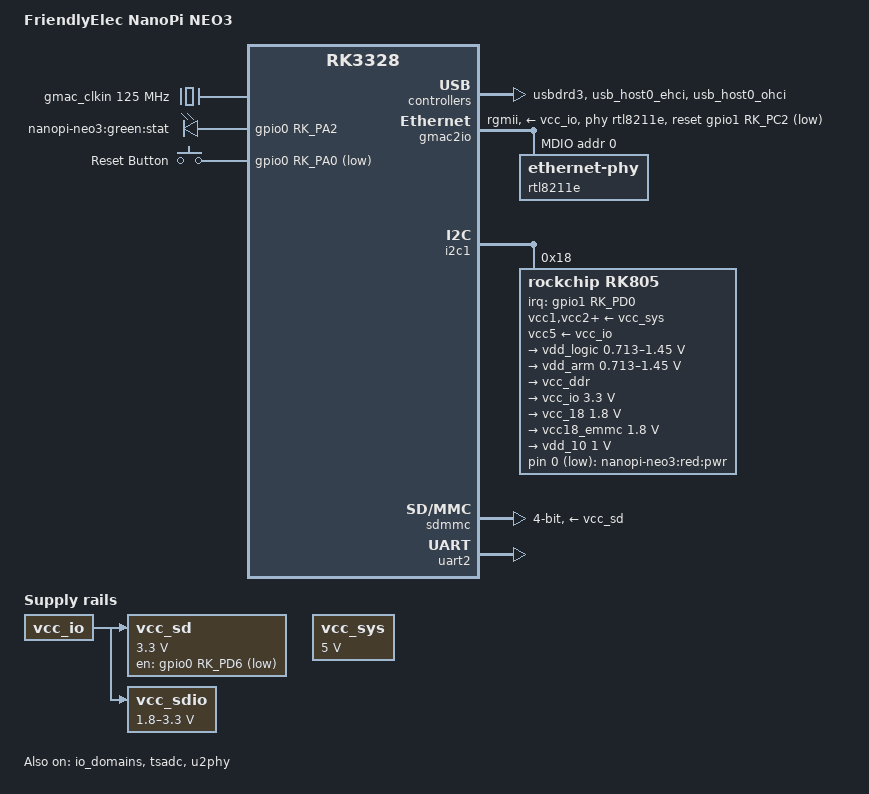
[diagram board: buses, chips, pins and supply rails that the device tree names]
// SPDX-License-Identifier: (GPL-2.0+ OR MIT)
/*
 * Copyright (c) 2020 Chris Blake <chrisrblake93@gmail.com>
 */

/dts-v1/;

#include <dt-bindings/input/input.h>
#include <dt-bindings/gpio/gpio.h>
#include "rk3328.dtsi"

/ {
  model = "FriendlyElec NanoPi NEO3";
  compatible = "friendlyelec,nanopi-neo3", "rockchip,rk3328";

  chosen {
    stdout-path = "serial2:1500000n8";
  };

  gmac_clkin: external-gmac-clock {
    compatible = "fixed-clock";
    clock-frequency = <125000000>;
    clock-output-names = "gmac_clkin";
    #clock-cells = <0>;
  };

  vcc_sd: sdmmc-regulator {
    compatible = "regulator-fixed";
    gpio = <&gpio0 RK_PD6 GPIO_ACTIVE_LOW>;
    pinctrl-names = "default";
    pinctrl-0 = <&sdmmc0m1_gpio>;
    regulator-name = "vcc_sd";
    regulator-min-microvolt = <3300000>;
    regulator-max-microvolt = <3300000>;
    vin-supply = <&vcc_io>;
  };

  vcc_sdio: sdmmcio-regulator {
    compatible = "regulator-gpio";
    gpios = <&gpio1 RK_PD4 GPIO_ACTIVE_HIGH>;
    enable-active-high;
    states = <1800000 0x1
        3300000 0x0>;
    pinctrl-names = "default";
    pinctrl-0 = <&sdio_vcc_pin>;
    regulator-always-on;
    regulator-min-microvolt = <1800000>;
    regulator-max-microvolt = <3300000>;
    regulator-name = "vcc_sdio";
    regulator-settling-time-us = <5000>;
    regulator-type = "voltage";
    vin-supply = <&vcc_io>;
  };

  vcc_sys: vcc-sys {
    compatible = "regulator-fixed";
    regulator-name = "vcc_sys";
    regulator-always-on;
    regulator-boot-on;
    regulator-min-microvolt = <5000000>;
    regulator-max-microvolt = <5000000>;
  };

  leds {
    compatible = "gpio-leds";

    pinctrl-names = "default";
    pinctrl-0 = <&led_pins>;

    stat {
      gpios = <&gpio0 RK_PA2 GPIO_ACTIVE_HIGH>;
      label = "nanopi-neo3:green:stat";
      linux,default-trigger = "mmc0";
    };
  };

  rk805-leds {
    compatible = "gpio-leds";

    pwr {
      gpios = <&rk805 0 GPIO_ACTIVE_LOW>;
      label = "nanopi-neo3:red:pwr";
      linux,default-trigger = "default-on";
      default-state = "on";
    };
  };

  gpio_keys {
    compatible = "gpio-keys-polled";
    poll-interval = <100>;

    pinctrl-names = "default";
    pinctrl-0 = <&button_pins>;

    reset {
      label = "Reset Button";
      gpios = <&gpio0 RK_PA0 GPIO_ACTIVE_LOW>;
      linux,code = <KEY_POWER>;
      debounce-interval = <50>;
    };
  };

  usbdrd3: usb@ff600000 {
    compatible = "rockchip,rk3328-dwc3";
    clocks = <&cru SCLK_USB3OTG_REF>, <&cru SCLK_USB3OTG_SUSPEND>,
       <&cru ACLK_USB3OTG>;
    clock-names = "ref_clk", "suspend_clk",
            "bus_clk";
    #address-cells = <2>;
    #size-cells = <2>;
    ranges;
    status = "okay";

    usbdrd_dwc3: dwc3@ff600000 {
      compatible = "snps,dwc3";
      reg = <0x0 0xff600000 0x0 0x100000>;
      interrupts = <GIC_SPI 67 IRQ_TYPE_LEVEL_HIGH>;
      dr_mode = "host";
      phy_type = "utmi_wide";
      snps,dis_enblslpm_quirk;
      snps,dis-u2-freeclk-exists-quirk;
      snps,dis_u2_susphy_quirk;
      snps,dis-u3-autosuspend-quirk;
      snps,dis_u3_susphy_quirk;
      snps,dis-del-phy-power-chg-quirk;
      snps,dis-tx-ipgap-linecheck-quirk;
      snps,xhci-slow-suspend-quirk;
      snps,xhci-trb-ent-quirk;
      status = "okay";
    };
  };
};

&cpu0 {
  cpu-supply = <&vdd_arm>;
};

&cpu1 {
  cpu-supply = <&vdd_arm>;
};

&cpu2 {
  cpu-supply = <&vdd_arm>;
};

&cpu3 {
  cpu-supply = <&vdd_arm>;
};

&gmac2io {
  assigned-clocks = <&cru SCLK_MAC2IO>, <&cru SCLK_MAC2IO_EXT>;
  assigned-clock-parents = <&gmac_clkin>, <&gmac_clkin>;
  clock_in_out = "input";
  phy-supply = <&vcc_io>;
  phy-handle = <&rtl8211e>;
  phy-mode = "rgmii";
  pinctrl-names = "default";
  pinctrl-0 = <&rgmiim1_pins>;
  snps,aal;
  snps,reset-gpio = <&gpio1 RK_PC2 GPIO_ACTIVE_LOW>;
  snps,reset-active-low;
  snps,reset-delays-us = <0 10000 50000>;
  tx_delay = <0x24>;
  rx_delay = <0x18>;
  status = "okay";

  mdio {
    compatible = "snps,dwmac-mdio";
    #address-cells = <1>;
    #size-cells = <0>;

    rtl8211e: ethernet-phy@0 {
      reg = <0>;
    };
  };
};

&i2c1 {
  status = "okay";

  rk805: rk805@18 {
    compatible = "rockchip,rk805";
    reg = <0x18>;
    interrupt-parent = <&gpio1>;
    interrupts = <RK_PD0 IRQ_TYPE_LEVEL_LOW>;
    #clock-cells = <1>;
    clock-output-names = "xin32k", "rk805-clkout2";
    gpio-controller;
    #gpio-cells = <2>;
    pinctrl-names = "default";
    pinctrl-0 = <&pmic_int_l>;
    rockchip,system-power-controller;
    wakeup-source;

    vcc1-supply = <&vcc_sys>;
    vcc2-supply = <&vcc_sys>;
    vcc3-supply = <&vcc_sys>;
    vcc4-supply = <&vcc_sys>;
    vcc5-supply = <&vcc_io>;
    vcc6-supply = <&vcc_sys>;

    regulators {
      vdd_logic: DCDC_REG1 {
        regulator-name = "vdd_logic";
        regulator-min-microvolt = <712500>;
        regulator-max-microvolt = <1450000>;
        regulator-ramp-delay = <12500>;
        regulator-always-on;
        regulator-boot-on;
        regulator-state-mem {
          regulator-on-in-suspend;
          regulator-suspend-microvolt = <1000000>;
        };
      };

      vdd_arm: DCDC_REG2 {
        regulator-name = "vdd_arm";
        regulator-min-microvolt = <712500>;
        regulator-max-microvolt = <1450000>;
        regulator-ramp-delay = <12500>;
        regulator-always-on;
        regulator-boot-on;
        regulator-state-mem {
          regulator-on-in-suspend;
          regulator-suspend-microvolt = <950000>;
        };
      };

      vcc_ddr: DCDC_REG3 {
        regulator-name = "vcc_ddr";
        regulator-always-on;
        regulator-boot-on;
        regulator-state-mem {
          regulator-on-in-suspend;
        };
      };

      vcc_io: DCDC_REG4 {
        regulator-name = "vcc_io";
        regulator-min-microvolt = <3300000>;
        regulator-max-microvolt = <3300000>;
        regulator-always-on;
        regulator-boot-on;
        regulator-state-mem {
          regulator-on-in-suspend;
          regulator-suspend-microvolt = <3300000>;
        };
      };

      vcc_18: LDO_REG1 {
        regulator-name = "vcc_18";
        regulator-min-microvolt = <1800000>;
        regulator-max-microvolt = <1800000>;
        regulator-always-on;
        regulator-boot-on;
        regulator-state-mem {
          regulator-on-in-suspend;
          regulator-suspend-microvolt = <1800000>;
        };
      };

      vcc18_emmc: LDO_REG2 {
        regulator-name = "vcc18_emmc";
        regulator-min-microvolt = <1800000>;
        regulator-max-microvolt = <1800000>;
        regulator-always-on;
        regulator-boot-on;
        regulator-state-mem {
          regulator-on-in-suspend;
          regulator-suspend-microvolt = <1800000>;
        };
      };

      vdd_10: LDO_REG3 {
        regulator-name = "vdd_10";
        regulator-min-microvolt = <1000000>;
        regulator-max-microvolt = <1000000>;
        regulator-always-on;
        regulator-boot-on;
        regulator-state-mem {
          regulator-on-in-suspend;
          regulator-suspend-microvolt = <1000000>;
        };
      };
    };
  };
};

&io_domains {
  status = "okay";

  vccio1-supply = <&vcc_io>;
  vccio2-supply = <&vcc18_emmc>;
  vccio3-supply = <&vcc_sdio>;
  vccio4-supply = <&vcc_18>;
  vccio5-supply = <&vcc_io>;
  vccio6-supply = <&vcc_io>;
  pmuio-supply = <&vcc_io>;
};

&pinctrl {
  leds {
    led_pins: led-pins {
      rockchip,pins = <0 RK_PA2 RK_FUNC_GPIO &pcfg_pull_none>;
    };
  };

  button {
    button_pins: button-pins {
      rockchip,pins = <0 RK_PA0 RK_FUNC_GPIO &pcfg_pull_none>;
    };
  };

  pmic {
    pmic_int_l: pmic-int-l {
      rockchip,pins = <1 RK_PD0 RK_FUNC_GPIO &pcfg_pull_up>;
    };
  };

  sd {
    sdio_vcc_pin: sdio-vcc-pin {
      rockchip,pins = <1 RK_PD4 RK_FUNC_GPIO &pcfg_pull_up>;
    };
  };

  usb {
    host_vbus_drv: host-vbus-drv {
      rockchip,pins = <0 RK_PA0 RK_FUNC_GPIO &pcfg_pull_none>;
    };

    otg_vbus_drv: otg-vbus-drv {
      rockchip,pins = <1 RK_PD2 RK_FUNC_GPIO &pcfg_pull_none>;
    };
  };
};

&sdmmc {
  bus-width = <4>;
  cap-mmc-highspeed;
  cap-sd-highspeed;
  disable-wp;
  max-frequency = <150000000>;
  pinctrl-names = "default";
  pinctrl-0 = <&sdmmc0_clk &sdmmc0_cmd &sdmmc0_dectn &sdmmc0_bus4>;
  vmmc-supply = <&vcc_sd>;
  vqmmc-supply = <&vcc_sdio>;
  status = "okay";
};

&tsadc {
  rockchip,hw-tshut-mode = <0>;
  rockchip,hw-tshut-polarity = <0>;
  status = "okay";
};

&uart2 {
  status = "okay";
};

&u2phy {
  status = "okay";

  u2phy_host: host-port {
    status = "okay";
  };
};

&usb_host0_ehci {
  status = "okay";
};

&usb_host0_ohci {
  status = "okay";
};
